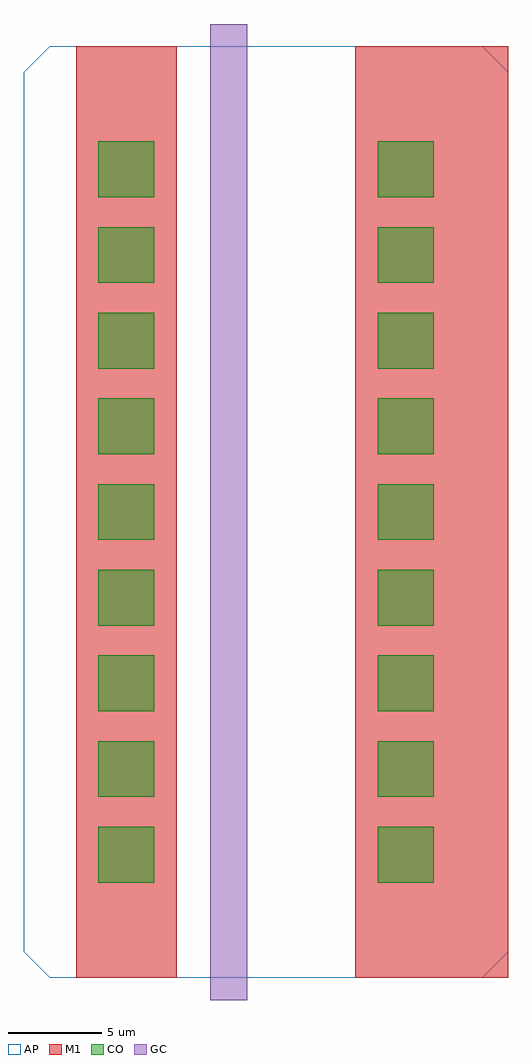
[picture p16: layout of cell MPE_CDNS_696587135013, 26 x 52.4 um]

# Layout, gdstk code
import gdstk
lib = gdstk.Library(unit=1e-6, precision=1e-09)
def R(c, l, rs):  # rectangles x0, y0, x1, y1
    for r in rs: c.add(gdstk.rectangle(r[:2], r[2:], *l))
def A(c, l, x, y, w, h, nx, ny, dx, dy):  # array of equal rectangles
    R(c, l, [(x+i*dx, y+j*dy, x+i*dx+w, y+j*dy+h) for i in range(nx) for j in range(ny)])
def P(c, l, *ps):  # polygons
    for p in ps: c.add(gdstk.Polygon(p, *l))
AP = (3, 1)
GC = (8, 1)
CO = (11, 0)
M1 = (13, 0)

mpe_cdns_696587135013 = lib.new_cell('MPE_CDNS_696587135013')
P(mpe_cdns_696587135013, AP, [(1.4,0),(0,1.4),(0,48.6),(1.4,50),(24.6,50),(26,48.6),(26,1.4),(24.6,0)])
R(mpe_cdns_696587135013, GC, [(10,-1.2,12,51.2)])
A(mpe_cdns_696587135013, CO, 4, 5.1, 3, 3, 1, 9, 0, 4.6)
A(mpe_cdns_696587135013, CO, 19, 5.1, 3, 3, 1, 9, 0, 4.6)
R(mpe_cdns_696587135013, M1, [(2.8,0,8.2,50), (17.8,0,26,50)])

lib.write_gds('MPE_CDNS_696587135013.gds')
